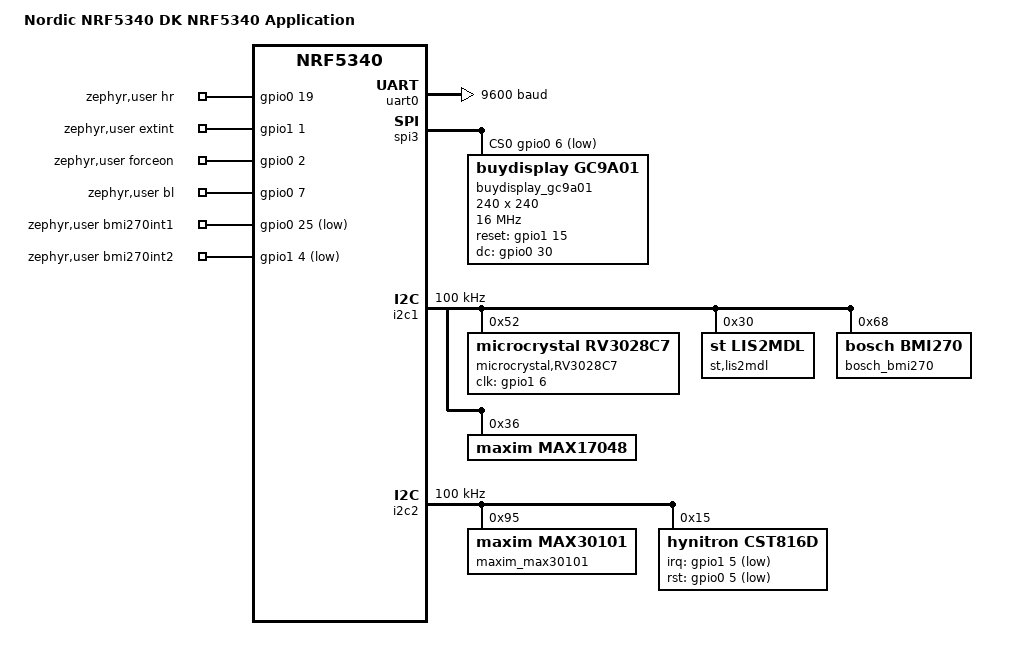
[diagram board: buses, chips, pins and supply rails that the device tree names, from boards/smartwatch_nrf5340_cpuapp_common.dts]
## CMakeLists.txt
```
cmake_minimum_required(VERSION 3.20.0)

set(BOARD_ROOT ${CMAKE_CURRENT_SOURCE_DIR})
find_package(Zephyr REQUIRED HINTS $ENV{ZEPHYR_BASE})
project(Software)

#list(APPEND ZEPHYR_EXTRA_MODULES
#  ${CMAKE_CURRENT_SOURCE_DIR}/drivers/display/gc9a01
#  )

include_directories(src/)
include_directories(src/sensors)
include_directories(src/ui)
include_directories(src/drivers/input)
include_directories(src/drivers/input/cst816s)

#add_subdirectory(src/drivers)



target_sources(app PRIVATE 
src/main.c
src/drivers/max30101/algorithm.c
src/drivers/max30101/max30101.c
src/drivers/gc9a01/gc9a01.c
src/drivers/input/cst816d/input_cst816d.c
src/drivers/RV3028/RV3028.c
src/drivers/gnss/gnss.c
src/clock/clock.c


src/display_control/display_control.c
src/sensor_data/inertial_measurement.c
src/sensor_data/battery_gauge.c

)

file(GLOB_RECURSE ui_sources src/ui/*.c)
target_sources(app PRIVATE ${ui_sources})

file(GLOB_RECURSE sensor_sources src/sensors/*.c)
target_sources(app PRIVATE ${sensor_sources})


add_compile_definitions(LV_LVGL_H_INCLUDE_SIMPLE)
```

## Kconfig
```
menu "Zephyr Kernel"
    source "Kconfig.zephyr"
endmenu

menu "ZSWatch"
    config ZSWATCH_PCB_REV
        int
    prompt "ZSWatch PCB revision"
    default 3


    menu "Default configuration"
        menu "Sensors Summary"
            depends on APPLICATIONS_USE_SENSORS_SUMMARY

            config DEFAULT_CONFIGURATION_SENSORS_SUMMARY_REFRESH_INTERVAL_MS
                int
            prompt "Refresh interval in milliseconds"
            default 100
        endmenu
    endmenu

    menu "ZSWatch Init Priorities"
    config ZSW_DRIVER_INIT_PRIORITY
        int
        default 85
    endmenu

    menu "Custom drivers"
        rsource "drivers/Kconfig"
    endmenu

endmenu
```

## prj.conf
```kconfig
CONFIG_I2C=y
CONFIG_SENSOR=y
CONFIG_PM_DEVICE=y
CONFIG_PM_DEVICE_RUNTIME=y
CONFIG_STATS=y
CONFIG_COUNTER=y
CONFIG_REGULATOR=y
CONFIG_NEWLIB_LIBC=y
#CONFIG_RETAINED_MEM=y




#0x00 = 0.0 mA
#0x01 = 0.2 mA
#0x02 = 0.4 mA
#0x0f = 3.1 mA
#0xff = 50.0 mA

CONFIG_BMI270=y
CONFIG_LIS2MDL=y



CONFIG_MULTITHREADING=y

CONFIG_DISPLAY_LOG_LEVEL_ERR=y


# Enable both APIs
CONFIG_UART_ASYNC_API=y
CONFIG_UART_INTERRUPT_DRIVEN=y
CONFIG_UART_0_ASYNC=y
CONFIG_UART_0_INTERRUPT_DRIVEN=n


CONFIG_FUEL_GAUGE=y
CONFIG_MAX30101=y
CONFIG_MAX30101_MULTI_LED_MODE=y
#CONFIG_MAX30101_HEART_RATE_MODE=y

CONFIG_MAX30101_LED3_PA=0x0f
#CONFIG_MAX30101_SLOT1=3
#CONFIG_MAX30101_LED1_PA=0x0f



#CONFIG_BMI270=y

# LOGGING

CONFIG_LOG=y
#CONFIG_PWM_LOG_LEVEL_DBG=y
CONFIG_CBPRINTF_FP_SUPPORT=y
CONFIG_RTT_CONSOLE=y
CONFIG_USE_SEGGER_RTT=y
CONFIG_PRINTK=y
CONFIG_STDOUT_CONSOLE=y

CONFIG_SENSOR_LOG_LEVEL_DBG=y
CONFIG_I2C_LOG_LEVEL_DBG=y

# DISPLAY 
CONFIG_PWM=y
CONFIG_DISPLAY=y
CONFIG_SPI=y
#CONFIG_SPI_LOG_LEVEL_DBG=y
#CONFIG_DMA=y
#CONFIG_DMA_LOG_LEVEL_DBG=y



# MEMORY
CONFIG_THREAD_NAME=y 




CONFIG_THREAD_MONITOR=y


# Memory
CONFIG_MAIN_STACK_SIZE=2048
CONFIG_SYSTEM_WORKQUEUE_STACK_SIZE=2048
CONFIG_HEAP_MEM_POOL_SIZE=20480


# LVGL STUFF
CONFIG_LVGL=y
CONFIG_LV_MEM_CUSTOM=n
CONFIG_LV_Z_FLUSH_THREAD=y
CONFIG_LV_MEM_SIZE_KILOBYTES=128
CONFIG_LV_MEM_BUF_MAX_NUM=96
CONFIG_LV_Z_MEM_POOL_NUMBER_BLOCKS=8
CONFIG_LV_Z_DOUBLE_VDB=y
CONFIG_LV_Z_POINTER_INPUT=y

#CONFIG_LV_FONT_CUSTOM=y
#CONFIG_LV_FONT_CUSTOM_DECLARE="roboto_48"

CONFIG_INPUT=y



CONFIG_LV_THEME_DEFAULT_DARK=y


# FONTS
CONFIG_LV_FONT_MONTSERRAT_10=y
CONFIG_LV_FONT_MONTSERRAT_12=y
CONFIG_LV_FONT_MONTSERRAT_14=y
CONFIG_LV_FONT_MONTSERRAT_16=y
CONFIG_LV_FONT_MONTSERRAT_18=y
CONFIG_LV_FONT_MONTSERRAT_20=y
CONFIG_LV_FONT_MONTSERRAT_22=y
CONFIG_LV_FONT_MONTSERRAT_26=y
CONFIG_LV_FONT_MONTSERRAT_28=y
CONFIG_LV_FONT_MONTSERRAT_24=y
CONFIG_LV_FONT_MONTSERRAT_30=y
CONFIG_LV_FONT_MONTSERRAT_32=y
CONFIG_LV_FONT_MONTSERRAT_36=y
CONFIG_LV_FONT_MONTSERRAT_40=y
CONFIG_LV_FONT_MONTSERRAT_48=y


# LVGL Size Optimization
CONFIG_LV_BUILD_EXAMPLES=n
CONFIG_LV_DRAW_COMPLEX=y
CONFIG_LV_USE_CANVAS=y
CONFIG_LV_LABEL_TEXT_SELECTION=n
CONFIG_LV_LABEL_LONG_TXT_HINT=n
CONFIG_LV_USE_LOG=n
CONFIG_LV_USE_BAR=n
CONFIG_LV_USE_CHECKBOX=n
CONFIG_LV_USE_DROPDOWN=y
CONFIG_LV_USE_LINE=y
CONFIG_LV_USE_ROLLER=y
CONFIG_LV_USE_SLIDER=y
CONFIG_LV_USE_SWITCH=y
CONFIG_LV_USE_GRID=y
CONFIG_LV_USE_FLEX=y
CONFIG_LV_USE_TABLE=n
CONFIG_LV_USE_TEXTAREA=y
CONFIG_LV_USE_ANIMIMG=y
CONFIG_LV_USE_CALENDAR=n
CONFIG_LV_USE_CHART=y
CONFIG_LV_USE_COLORWHEEL=n
CONFIG_LV_USE_IMGBTN=y
CONFIG_LV_USE_KEYBOARD=n
CONFIG_LV_USE_LED=n
CONFIG_LV_USE_LIST=n
CONFIG_LV_USE_BTN=y
CONFIG_LV_USE_MENU=n
CONFIG_LV_USE_METER=n
CONFIG_LV_USE_MSGBOX=n
CONFIG_LV_USE_SPINBOX=y
CONFIG_LV_USE_SPINNER=y
CONFIG_LV_USE_TABVIEW=n
CONFIG_LV_USE_TILEVIEW=n
CONFIG_LV_USE_WIN=n
CONFIG_LV_USE_SPAN=y
CONFIG_LV_USE_USER_DATA=y
CONFIG_LV_COLOR_DEPTH_16=y
CONFIG_LV_COLOR_16_SWAP=y
CONFIG_KSCAN=n
```

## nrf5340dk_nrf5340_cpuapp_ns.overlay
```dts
// To get started, press Ctrl+Space to bring up the completion menu and view the available nodes.

// You can also use the buttons in the sidebar to perform actions on nodes.
// Actions currently available include:

// * Enabling / disabling the node
// * Adding the bus to a bus
// * Removing the node
// * Connecting ADC channels

// For more help, browse the DeviceTree documentation at https://docs.zephyrproject.org/latest/guides/dts/index.html
// You can also visit the nRF DeviceTree extension documentation at https://nrfconnect.github.io/vscode-nrf-connect/devicetree/nrfdevicetree.html

&i2c2 {
    lis2dh@19 {
        compatible = "st,lis2dh";
        reg = <0x19>;
        label = "LIS2DH";
    };
    rtc@36 {
        compatible = "st,lis2dh";
        reg = <0x36>;
        label = "RV-3028-C7";
    };
};
```

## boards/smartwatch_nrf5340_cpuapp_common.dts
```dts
#include "smartwatch_nrf5340_cpuapp_common_pincontrol.dtsi"


/ {
	model = "Nordic NRF5340 DK NRF5340 Application";
	compatible = "nordic,nrf5340-dk-nrf5340-cpuapp";

	clock-frequency  = <128000000>;

	chosen {
		zephyr,display = &gc9a01;
	};

	
	
	lvgl_pointer_input: lvgl_pointer {
		compatible = "zephyr,lvgl-pointer-input";
		input = <&cst816d>;
		//swap-xy;
		//invert-x;
	};
	


	gpio_fwd: nrf-gpio-forwarder {
		compatible = "nordic,nrf-gpio-forwarder";
		uart{
			status = "disabled";
		};
	};

	zephyr,user {
		hr-gpios = <&gpio0 19 GPIO_ACTIVE_HIGH>;
		extint-gpios = <&gpio1 1 GPIO_ACTIVE_HIGH>;
		forceon-gpios = <&gpio0 2 GPIO_ACTIVE_HIGH>;
		bl-gpios = <&gpio0 7 GPIO_ACTIVE_HIGH>;
		bmi270int1-gpios = <&gpio0 25 GPIO_ACTIVE_LOW>;
		bmi270int2-gpios = <&gpio1 4 GPIO_ACTIVE_LOW>;
	};
	
};


&uart0{
	status = "okay";
	current-speed = <9600>;
	label = "UART_0";
	pinctrl-0 = <&uart0_default>;
	pinctrl-1 = <&uart0_sleep>;
};


&button0 {
	status = "disabled";
};



&pwm0 {
	status = "disabled";
};


&spi4 {
	status = "disabled";
};

&button1{
	status = "disabled";
};

&button2{
	status = "disabled";
};


&button3{
	status = "disabled";
};

&led0{
	status = "disabled";
};

&led1{
	status = "disabled";
};

&led2{
	status = "disabled";
};

&led3{
	status = "disabled";
};

&spi3  {
	status = "okay";
	compatible = "nordic,nrf-spim";
	pinctrl-0 = <&spi3_default>;
	pinctrl-1 = <&spi3_sleep>;
	pinctrl-names = "default", "sleep";
	cs-gpios = <&gpio0 6 GPIO_ACTIVE_LOW>;

	
	gc9a01: gc9a01@0 {
		compatible = "buydisplay,gc9a01";
		status = "okay";
		spi-max-frequency = <16000000>; // 16MHz
		reg = <0>;
		zephyr,display-P-width = <240>;
		zephyr,display-P-height = <240>;
		width = <240>;
		label = "buydisplay_gc9a01";
		height = <240>;
		reset-gpios = <&gpio1 15 GPIO_ACTIVE_HIGH>;
		dc-gpios = <&gpio0 30 GPIO_ACTIVE_HIGH>;
	};
	
};

 
&i2c1 {
	compatible = "nordic,nrf-twim";
	status = "okay";
	pinctrl-0 = <&i2c1_default>;
	pinctrl-1 = <&i2c1_sleep>;
	pinctrl-names = "default", "sleep";
	clock-frequency = <100000>;
	label = "I2C_1";
	//zephyr,concat-buf-size = <128>;
	zephyr,flash-buf-max-size = < 1024 >;

	
	RV3028C7: RV3028C7@52 { // OR 36
        compatible = "microcrystal,RV3028C7";
        reg = <0x52>;
        label = "microcrystal,RV3028C7";
		clk-gpios = <&gpio1 6 GPIO_ACTIVE_HIGH>;
    };
	 
	lis2mdl@30 {
        compatible = "st,lis2mdl";
        reg = <0x30>;
        label = "st,lis2mdl";
    };
	bmi270@68 {
		compatible = "bosch,bmi270";
		reg = < 0x68 >;
		label = "bosch_bmi270";
	};
	
	max17048@36 {
		compatible = "maxim,max17048";
		reg = <0x36>;
	};
	
};

&i2c2 {
	compatible = "nordic,nrf-twim";
	status = "okay";
	pinctrl-0 = <&i2c2_default>;
	pinctrl-1 = <&i2c2_sleep>;
	pinctrl-names = "default", "sleep";
	clock-frequency = <100000>;
	label = "I2C_2";


	max30101@95 {
		compatible = "maxim,max30101";
		reg = <0x95>;
		label = "maxim_max30101";
	};

	
	cst816d: cst816d@15 {
        compatible = "hynitron,cst816d";
        reg = <0x15>;
        irq-gpios = <&gpio1 5 GPIO_ACTIVE_LOW>;
        rst-gpios = <&gpio0 5 GPIO_ACTIVE_LOW>;
    };
	
};
```

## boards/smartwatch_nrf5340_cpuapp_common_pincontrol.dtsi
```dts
&pinctrl {

	// I2C
	i2c1_default: i2c1_default {
		group1 {
				psels = <NRF_PSEL(TWIM_SCL, 1, 13)>,
						<NRF_PSEL(TWIM_SDA, 1, 11)>;
						bias-pull-up;
		};
	};
	i2c1_sleep: i2c1_sleep {
			group1 {
					psels = <NRF_PSEL(TWIM_SCL, 0, 26)>,
							<NRF_PSEL(TWIM_SDA, 0, 10)>;
			};
	};

	i2c2_default: i2c2_default {
		group1 {
				psels = <NRF_PSEL(TWIM_SCL, 1, 3)>,
						<NRF_PSEL(TWIM_SDA, 1, 2)>;
		};
	};
	i2c2_sleep: i2c2_sleep {
			group1 {
					psels = <NRF_PSEL(TWIM_SCL, 1, 8)>,
							<NRF_PSEL(TWIM_SDA, 1, 9)>;
			};
	};


	// SPI
	spi3_default: spi3_default {
		group1 {
				psels = <NRF_PSEL(SPIM_SCK, 1, 7)>,
						<NRF_PSEL(SPIM_MOSI, 1, 14)>,
						<NRF_PSEL(SPIM_MISO, 1, 10)>;
			};
	};
	spi3_sleep: spi3_sleep {
			group0 {
					psels = <NRF_PSEL(SPIM_SCK, 0, 1)>,
							<NRF_PSEL(SPIM_MOSI, 0, 22)>,
							<NRF_PSEL(SPIM_MISO, 0, 3)>;
			};
	};



	
	// UART
	uart0_default: uart0_default {
		group1 {
			psels = <NRF_PSEL(UART_TX, 0, 20)>,
			<NRF_PSEL(UART_RTS, 0, 11)>;
		};
		group2 {
			psels = <NRF_PSEL(UART_RX, 1, 0)>,
				<NRF_PSEL(UART_CTS, 0, 12)>;
			bias-pull-up;
		};
	};

	uart0_sleep: uart0_sleep {
		group1 {
			psels = <NRF_PSEL(UART_TX, 0, 20)>,
			<NRF_PSEL(UART_RTS, 0, 11)>;
		};
		group2 {
			psels = <NRF_PSEL(UART_RX, 1, 0)>,
				<NRF_PSEL(UART_CTS, 0, 12)>;
			bias-pull-up;
		};
	};	
	
};
```

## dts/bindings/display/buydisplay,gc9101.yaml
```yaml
description: GC9A01 display controller

compatible: "buydisplay,gc9a01"

include: [spi-device.yaml, display-controller.yaml]


properties:
    zephyr,display-P-width:
      type: int
      required: true
      description: Value needed for lvgl
    zephyr,display-P-height:
      type: int
      required: true
      description: Value needed for lvgl
    reset-gpios:
      type: phandle-array
      required: true
      description: RESET pin.

        The RESET pin of GC9A01 is active low.
        If connected directly the MCU pin should be configured
        as active low.

    dc-gpios:
      type: phandle-array
      required: true
      description: DC pin.

        The DC pin of GC9A01 is active low (transmission command byte).
        If connected directly the MCU pin should be configured
        as active low.

    rotation:
      type: int
      default: 0
      enum:
        - 0
        - 90
        - 180
        - 270
      description:
        Display rotation (CW) in degrees.

    pwr:
      type: uint8-array
      required: false
      description: Power Setting (PWR) values

    softstart:
      type: uint8-array
      required: false
      description: Booster Soft Start (BTST) values

    cdi:
      type: int
      required: false
      description: VCOM and data interval value

    tcon:
      type: int
      required: false
      description: TCON setting value
on-bus: spi
```

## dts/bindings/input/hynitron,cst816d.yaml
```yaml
description: cst816d touch controller

compatible: "hynitron,cst816d"

include: [i2c-device.yaml]


properties:
    irq-gpios:
      type: phandle-array
      required: true
      description: Interrupt pin.

    rst-gpios:
      type: phandle-array
      required: true
      description: Reset pin

on-bus: i2c
```

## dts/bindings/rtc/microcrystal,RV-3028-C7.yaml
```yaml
description: 	Real Time Clock (RTC) IC Clock/Calendar

compatible: "microcrystal,RV-3028-C7"

include: [i2c-device.yaml]


properties:

    evi-gpios:
      type: phandle-array
      required: false
      description: Event Input

    int-gpios:
      type: phandle-array
      required: false
      description: Interrupt Output

    clk-gpios:
      type: phandle-array
      required: true
      description: Clock Output
    
on-bus: i2c
```

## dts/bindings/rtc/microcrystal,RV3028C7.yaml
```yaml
description: 	Real Time Clock (RTC) IC Clock/Calendar

compatible: "microcrystal,RV3028C7"

include: [i2c-device.yaml]


properties:

    evi-gpios:
      type: phandle-array
      required: false
      description: Event Input

    int-gpios:
      type: phandle-array
      required: false
      description: Interrupt Output

    clk-gpios:
      type: phandle-array
      required: true
      description: Clock Output
    
on-bus: i2c
```

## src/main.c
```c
#include <zephyr/kernel.h>
#include <zephyr/kernel/thread_stack.h>
#include <stdio.h>
#include <stdint.h>
#include <string.h>
#include <zephyr/sys/printk.h>
#include <SEGGER_RTT.h>
#include <zephyr/drivers/sensor.h>
#include <zephyr/device.h>
#include <zephyr/devicetree.h>
#include <zephyr/drivers/i2c.h>
#include <zephyr/drivers/gpio.h>
#include <zephyr/sys/util.h>
#include <zephyr/input/input.h>
#include <zephyr/drivers/pwm.h>
#include <zephyr/drivers/uart.h>
#include <lvgl.h>
#include <ui.h>
#include <nrfx_clock.h>
//#include <zephyr/toolchain.h>

//#include "display_control/display_control.h"
//#include "sensor_data/inertial_measurement.h"


#define LOG_LEVEL CONFIG_LOG_DEFAULT_LEVEL
#include <zephyr/logging/log.h>
LOG_MODULE_REGISTER(app);


#define LVGL_THREAD_STACK_SIZE 8192
#define LVGL_THREAD_PRIORITY 1

// LVGL thread
K_THREAD_STACK_DEFINE(lvgl_thread_stack, LVGL_THREAD_STACK_SIZE);
struct k_thread lvgl_thread_data;


// LVGL task
void lvgl_task(){

    while (1) {


		/*
        if(backlight_is_on){
            lv_task_handler();
        }
        */
	   
		lv_task_handler();
        k_msleep(50);  
    }
    
}

int main(void){

	SEGGER_RTT_Init();
	printk("RTT LOG\n\n");
    k_sleep(K_SECONDS(3));

	// NRF_CLOCK_HFCLK_DIV_1 - 128Mhz
	// NRF_CLOCK_HFCLK_DIV_2 - 64Mhz
	// NRF_CLOCK_HFCLK_DIV_4 - 32Mhz
	nrfx_clock_divider_set(NRF_CLOCK_DOMAIN_HFCLK, NRF_CLOCK_HFCLK_DIV_1);

	const struct device *display_dev = DEVICE_DT_GET(DT_CHOSEN(zephyr_display));

	if (!device_is_ready(display_dev))
	{
		printk("Display not ready\n");
		//return;
	}

	// Initialize LVGL
    lv_init();
	ui_init();
    
    k_thread_create(&lvgl_thread_data, lvgl_thread_stack,
        K_THREAD_STACK_SIZEOF(lvgl_thread_stack),
        lvgl_task, NULL, NULL, NULL,
        LVGL_THREAD_PRIORITY, 0, K_NO_WAIT);


	while (1) {
	
		printk("-\n");


		/*
		if(acc[0].val1 == 0 && acc[1].val1 == 0 && acc[2].val1 == 0){
			printk("System Boot In 5 Seconds\n\n");
			//k_sleep(K_MSEC(5000));

			//sys_reboot(0);
        } 	*/  


		k_sleep(K_MSEC(1000));
	
	}

    return 0;
}
```

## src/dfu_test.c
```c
/*

#include <zephyr/types.h>
#include <stddef.h>
#include <string.h>
#include <errno.h>
#include <sys/printk.h>
#include <sys/byteorder.h>
#include <zephyr.h>
#include <bluetooth/bluetooth.h>
#include <bluetooth/hci.h>
#include <bluetooth/conn.h>
#include <bluetooth/uuid.h>
#include <bluetooth/gatt.h>
#include <bluetooth/services/bas.h>
#include <bluetooth/services/hrs.h>
#include <drivers/i2c.h>
#include <drivers/sensor.h>
#include <devicetree.h>



static const struct bt_data ad[] = {
	BT_DATA_BYTES(BT_DATA_FLAGS, (BT_LE_AD_GENERAL | BT_LE_AD_NO_BREDR)),
	BT_DATA_BYTES(BT_DATA_UUID16_ALL,
		      BT_UUID_16_ENCODE(BT_UUID_HRS_VAL),
		      BT_UUID_16_ENCODE(BT_UUID_BAS_VAL),
		      BT_UUID_16_ENCODE(BT_UUID_DIS_VAL))
};

static void connected(struct bt_conn *conn, uint8_t err)
{
	if (err) {
		printk("Connection failed (err 0x%02x)\n", err);
	} else {
		printk("Connected\n");
	}
}

static void disconnected(struct bt_conn *conn, uint8_t reason)
{
	printk("Disconnected (reason 0x%02x)\n", reason);
}

BT_CONN_CB_DEFINE(conn_callbacks) = {
	.connected = connected,
	.disconnected = disconnected,
};

static void bt_ready(void)
{
	int err;

	printk("Bluetooth initialized\n");

	err = bt_le_adv_start(BT_LE_ADV_CONN_NAME, ad, ARRAY_SIZE(ad), NULL, 0);
	if (err) {
		printk("Advertising failed to start (err %d)\n", err);
		return;
	}

	printk("Advertising successfully started\n");
}

static void auth_cancel(struct bt_conn *conn)
{
	char addr[BT_ADDR_LE_STR_LEN];

	bt_addr_le_to_str(bt_conn_get_dst(conn), addr, sizeof(addr));

	printk("Pairing cancelled: %s\n", addr);
}

static struct bt_conn_auth_cb auth_cb_display = {
	.cancel = auth_cancel,
};






//LIS2DE12TR

void i2c_scan(void)
{
    const struct device *i2c_dev;
    int i, dev_count = 0;

    i2c_dev = DEVICE_DT_GET(DT_NODELABEL(i2c2));

    if (i2c_dev == NULL) {
        printk("Scanning I2C bus for devices....\n");
        return;
    }

    printk("Scanning I2C bus for devices....\n");



	for (i = 0; i < 128; ++i) {
        uint8_t dummy_data;
        int ret;

        struct i2c_msg msgs[1] = {
            {
                .buf = &dummy_data,
                .len = 0,
                .flags = I2C_MSG_READ,
            }
        };

        ret = i2c_transfer(i2c_dev, &msgs[0], 1, i);

        if (ret == 0 || ret == -ENODEV) {
            // If ret == 0, device acknowledged the address
            // If ret == -ENODEV, no device responded
            printk("I2C device found at Address 0x%02X\n", i);
            dev_count++;
        }
    }

	if (dev_count == 0) {
        printk("No I2C devices found.\n");
        
    }
	
    printk("I2C scan complete with device count: %d\n", dev_count);

}


void i2c_scan(void)
{
    const struct device *i2c_dev;
    int i, dev_count = 0;

    i2c_dev = DEVICE_DT_GET(DT_NODELABEL(i2c2));

    if (i2c_dev == NULL) {
        printk("I2C: Device not found!\n");
        return;
    }

    printk("Scanning I2C bus for devices....\n");

	

	for (i = 0; i < 128; ++i) {
        uint8_t dummy_data;
        int ret;

        struct i2c_msg msgs[1] = {
            {
                .buf = &dummy_data,
                .len = 0,
                .flags = I2C_MSG_READ,
            }
        };

        ret = i2c_transfer(i2c_dev, &msgs[0], 1, i);

        if (ret == 0 || ret == -ENODEV) {
            // If ret == 0, device acknowledged the address
            // If ret == -ENODEV, no device responded
            printk("I2C device found at address 0x%02X\n", i);
            dev_count++;
        }
    }
	

    printk("I2C scan complete.\n");

	
}



void main(void)
{
	int err;

	os_mgmt_register_group();
	img_mgmt_register_group();
	stat_mgmt_register_group();

	err = bt_enable(NULL);
	if (err) {
		printk("Bluetooth init failed (err %d)\n", err);
		return;
	}

	bt_ready();

	//bt_conn_cb_register(&conn_callbacks);
	bt_conn_auth_cb_register(&auth_cb_display);

	err = smp_bt_register();

	if (err) {
	printk("SMP BT register failed (err: %d)", err);
	}


	while (1) {
		k_sleep(K_SECONDS(1));
		printk("----\n");

		
		//#########################################pragma endregion

		i2c_scan();
		
	}	
}





CONFIG_BT=y
CONFIG_BT_DEBUG_LOG=y
CONFIG_BT_SMP=y
CONFIG_BT_PERIPHERAL=y
CONFIG_BT_DIS=y
CONFIG_BT_DIS_PNP=n
CONFIG_BT_BAS=y
CONFIG_BT_HRS=y
CONFIG_BT_DEVICE_NAME="Smartwatch"
CONFIG_BT_DEVICE_APPEARANCE=194


CONFIG_STDOUT_CONSOLE=y
CONFIG_I2C=y
CONFIG_GPIO=y
CONFIG_SENSOR=y
CONFIG_CBPRINTF_FP_SUPPORT=y
CONFIG_RTT_CONSOLE=y
CONFIG_USE_SEGGER_RTT=y
CONFIG_PRINTK=y

# Enable mcumgr.
CONFIG_MCUMGR=y

# Enable flash operations.
CONFIG_FLASH=y

# Required by the `taskstat` command.
CONFIG_THREAD_MONITOR=y


# Some command handlers require a large stack.
CONFIG_SYSTEM_WORKQUEUE_STACK_SIZE=2048

# Ensure an MCUboot-compatible binary is generated.
CONFIG_BOOTLOADER_MCUBOOT=y



# Enable statistics and statistic names.
CONFIG_STATS=y
CONFIG_STATS_NAMES=y

# Enable most core commands.
CONFIG_MCUMGR_CMD_IMG_MGMT=y
CONFIG_MCUMGR_CMD_OS_MGMT=y
CONFIG_MCUMGR_CMD_STAT_MGMT=y

# Allow for large Bluetooth data packets.
CONFIG_BT_L2CAP_TX_MTU=252
CONFIG_BT_BUF_ACL_RX_SIZE=256

# Enable the Bluetooth (unauthenticated) and shell mcumgr transports.
CONFIG_MCUMGR_SMP_BT=y
CONFIG_MCUMGR_SMP_BT_AUTHEN=n
CONFIG_MCUMGR_SMP_SHELL=y




















##########pragma endregion



#include <stddef.h>
#include <string.h>
#include <sys/printk.h>
#include <sys/byteorder.h>
#include <zephyr.h>
#include <drivers/i2c.h>
#include <drivers/sensor.h>
#include <devicetree.h>
#include <SEGGER_RTT.h>
#include <device.h>
#include <zephyr/types.h>
#include <drivers/gpio.h>
#include "accelometer/accelometer.h"


#define GPIO DT_LABEL(DT_NODELABEL(gpio0))
#define BACKLIGHT_PIN 7
const struct device *dev;
gpio_pin_configure(dev, BACKLIGHT_PIN, GPIO_OUTPUT);

void toggle_backlight(void){

	const struct device *dev;

    dev = device_get_binding(GPIO);
    if (dev == NULL) {
        printk("Error: Could not get GPIO device\n");
        return;
    }

	k_sleep(K_SECONDS(3));

    gpio_pin_configure(dev, BACKLIGHT_PIN, GPIO_OUTPUT);

	printk("BACKLIGHT TOGGLE\n");

	gpio_pin_toggle(dev, BACKLIGHT_PIN);
}

void main(void){

    SEGGER_RTT_Init();

	printk("RTT LOG\n\n");

	while (1) {

		fetch_accelometer_data();

		k_sleep(K_SECONDS(5));

        printk("---\n");

        const struct device *spi_dev;

        spi_dev = device_get_binding(DT_LABEL(DT_NODELABEL(spi3)));
        if (!spi_dev) {
            printk("Error: Could not get SPI device\n");
        }
        if(spi_dev){
            printk("FOUND SPI BUS");
        }

    }

}




*/
```
